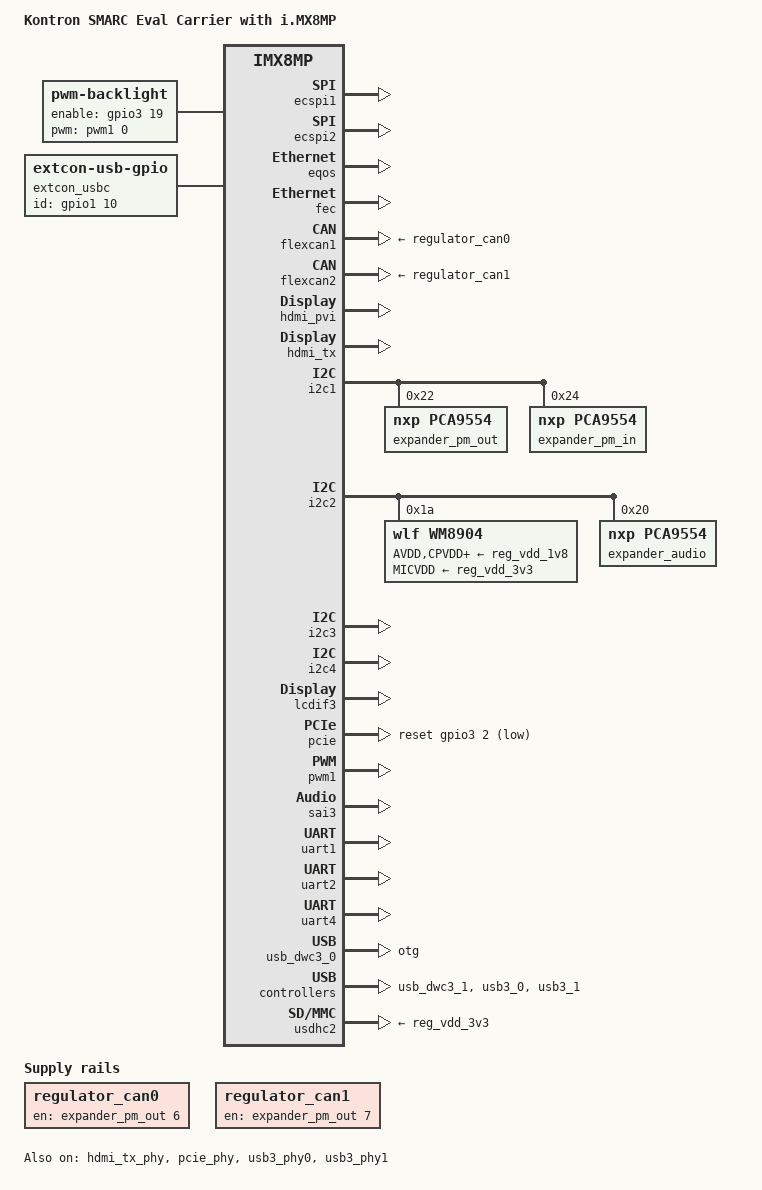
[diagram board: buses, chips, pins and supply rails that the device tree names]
// SPDX-License-Identifier: GPL-2.0+ OR MIT
/*
 * Copyright (C) 2024 Kontron Electronics GmbH
 */

/dts-v1/;

#include <dt-bindings/phy/phy-imx8-pcie.h>
#include "imx8mp-kontron-smarc.dtsi"

/ {
	model = "Kontron SMARC Eval Carrier with i.MX8MP";
	compatible = "kontron,imx8mp-smarc-eval-carrier", "kontron,imx8mp-smarc",
		     "kontron,imx8mp-osm-s", "fsl,imx8mp";

	backlight: backlight {
		compatible = "pwm-backlight";
		pwms = <&pwm1 0 50000 0>;
		brightness-levels = <0 100>;
		num-interpolated-steps = <100>;
		default-brightness-level = <100>;
		enable-gpios = <&gpio3 19 GPIO_ACTIVE_HIGH>;
	};

	extcon_usbc: usbc {
		compatible = "linux,extcon-usb-gpio";
		pinctrl-names = "default";
		pinctrl-0 = <&pinctrl_usb1_id>;
		id-gpios = <&gpio1 10 GPIO_ACTIVE_HIGH>;
	};

	sound {
		compatible = "simple-audio-card";
		simple-audio-card,bitclock-master = <&codec_dai>;
		simple-audio-card,format = "i2s";
		simple-audio-card,frame-master = <&codec_dai>;
		simple-audio-card,mclk-fs = <256>;
		simple-audio-card,name = "imx8mp-wm8904";
		simple-audio-card,routing =
			"Headphone Jack", "HPOUTL",
			"Headphone Jack", "HPOUTR",
			"IN2L", "Line In Jack",
			"IN2R", "Line In Jack",
			"Headphone Jack", "MICBIAS",
			"IN1L", "Headphone Jack";
		simple-audio-card,widgets =
			"Microphone", "Headphone Jack",
			"Headphone", "Headphone Jack",
			"Line", "Line In Jack";

		codec_dai: simple-audio-card,codec {
			clocks = <&audio_blk_ctrl IMX8MP_CLK_AUDIOMIX_SAI3_MCLK1>;
			sound-dai = <&wm8904>;
		};

		simple-audio-card,cpu {
			sound-dai = <&sai3>;
		};
	};

	regulator_can0: can0-regulator {
		compatible = "regulator-fixed";
		regulator-name = "can0_en";
		gpio = <&expander_pm_out 6 GPIO_ACTIVE_HIGH>;
		enable-active-high;
	};

	regulator_can1: can1-regulator {
		compatible = "regulator-fixed";
		regulator-name = "can1_en";
		gpio = <&expander_pm_out 7 GPIO_ACTIVE_HIGH>;
		enable-active-high;
	};
};

&ecspi1 {
	status = "okay";
};

&ecspi2 {
	status = "okay";
};

&eqos {
	status = "okay";
};

&fec {
	status = "okay";
};

&flexcan1 {
	xceiver-supply = <&regulator_can0>;
	status = "okay";
};

&flexcan2 {
	xceiver-supply = <&regulator_can1>;
	status = "okay";
};

&hdmi_pvi {
	status = "okay";
};

&hdmi_tx {
	pinctrl-names = "default";
	pinctrl-0 = <&pinctrl_hdmi>;
	ddc-i2c-bus = <&i2c3>;
	status = "okay";
};

&hdmi_tx_phy {
	status = "okay";
};

&i2c1 {
	status = "okay";

	expander_pm_out: io-expander@22 {
		compatible = "nxp,pca9554";
		reg = <0x22>;
		gpio-controller;
		#gpio-cells = <2>;
		gpio-line-names = "EN_5V0_S0", "EN_3V3_S0", "EN_1V8_S0",
				  "EN_1V5_S0", "EN_12V0_PCIE", "EN_3V3_S5",
				  "CAN0_EN", "CAN1_EN";
	};

	expander_pm_in: io-expander@24 {
		compatible = "nxp,pca9554";
		reg = <0x24>;
		gpio-controller;
		#gpio-cells = <2>;
		gpio-line-names = "PG_5V0_3V3_S0", "PG_5V0_3V3_S5", "PG_1V8_S0",
				  "PG_1V5_S0", "PG_BKLT_5V", "PG_BKLT_12V";
	};
};

&i2c2 {
	status = "okay";

	wm8904: audio-codec@1a {
		compatible = "wlf,wm8904";
		reg = <0x1a>;
		#sound-dai-cells = <0>;
		clocks = <&audio_blk_ctrl IMX8MP_CLK_AUDIOMIX_SAI3_MCLK1>;
		clock-names = "mclk";
		AVDD-supply = <&reg_vdd_1v8>;
		CPVDD-supply = <&reg_vdd_1v8>;
		DBVDD-supply = <&reg_vdd_1v8>;
		DCVDD-supply = <&reg_vdd_1v8>;
		MICVDD-supply = <&reg_vdd_3v3>;
	};

	expander_audio: io-expander@20 {
		compatible = "nxp,pca9554";
		reg = <0x20>;
		gpio-controller;
		#gpio-cells = <2>;
		gpio-line-names = "I2C_SEL_CODEC_LOOPBACK", "FPAH_PRESENCE",
				  "CODEC_OPTION_SW_I2S_HDA", "LINE_IN_JD",
				  "LINE_OUT_JD", "HEADPHONES_JD", "MIC_JD";
	};
};

&i2c3 {
	status = "okay";
};

&i2c4 {
	status = "okay";
};

&lcdif3 {
	status = "okay";
};

&pcie_phy {
	fsl,refclk-pad-mode = <IMX8_PCIE_REFCLK_PAD_OUTPUT>;
	fsl,clkreq-unsupported;
	clocks = <&hsio_blk_ctrl>;
	clock-names = "ref";
	status = "okay";
};

&pcie {
	pinctrl-names = "default";
	pinctrl-0 = <&pinctrl_pcie>;
	reset-gpio = <&gpio3 2 GPIO_ACTIVE_LOW>;
	status = "okay";
};

&pwm1 {
	status = "okay";
};

&sai3 {
	assigned-clocks = <&clk IMX8MP_CLK_SAI3>;
	assigned-clock-parents = <&clk IMX8MP_AUDIO_PLL1_OUT>;
	assigned-clock-rates = <24576000>;
	fsl,sai-mclk-direction-output;
	status = "okay";
};

&uart1 {
	uart-has-rtscts;
	status = "okay";
};

&uart2 {
	status = "okay";
};

&uart4 {
	uart-has-rtscts;
	status = "okay";
};

&usb_dwc3_0 {
	adp-disable;
	hnp-disable;
	srp-disable;
	dr_mode = "otg";
	extcon = <&extcon_usbc>;
	usb-role-switch;
	status = "okay";
};

&usb_dwc3_1 {
	status = "okay";
};

&usb3_0 {
	status = "okay";
};

&usb3_1 {
	status = "okay";
};

&usb3_phy0 {
	vbus-supply = <&reg_usb1_vbus>;
	status = "okay";
};

&usb3_phy1 {
	status = "okay";
};

&usdhc2 {
	vmmc-supply = <&reg_vdd_3v3>;
	status = "okay";
};
